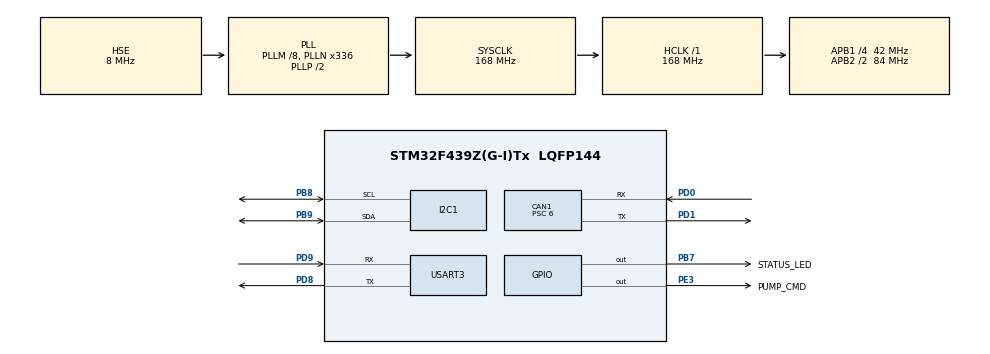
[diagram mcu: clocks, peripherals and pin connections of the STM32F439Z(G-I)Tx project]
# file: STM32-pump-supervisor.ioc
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CAN1.ABOM=ENABLE
CAN1.BS1=CAN_BS1_11TQ
CAN1.BS2=CAN_BS2_2TQ
CAN1.CalculateBaudRate=500000
CAN1.CalculateTimeBit=2000
CAN1.CalculateTimeQuantum=142.85714285714286
CAN1.Mode=CAN_MODE_LOOPBACK
CAN1.NART=ENABLE
CAN1.Prescaler=6
FREERTOS.Tasks01=defaultTask,8,128,StartDefaultTask,Default,NULL,Dynamic,NULL,NULL;task_sense,24,256,StartTaskSense,Default,NULL,Dynamic,NULL,NULL;task_control,24,256,StartTaskControl,Default,NULL,Dynamic,NULL,NULL;task_diag,16,384,StartTaskDiag,Default,NULL,Dynamic,NULL,NULL;task_supervisor,32,256,StartTaskSupervisor,Default,NULL,Dynamic,NULL,NULL
Mcu.Family=STM32F4
Mcu.Name=STM32F439Z(G-I)Tx
Mcu.Package=LQFP144
NVIC.PriorityGroup=NVIC_PRIORITYGROUP_4
NVIC.TIM6_DAC_IRQn=true\:15\:0\:false\:false\:true\:false\:false\:true\:true
NVIC.TimeBase=TIM6_DAC_IRQn
NVIC.TimeBaseIP=TIM6
PA13.Mode=Serial_Wire
PA13.Signal=SYS_JTMS-SWDIO
PA14.Mode=Serial_Wire
PA14.Signal=SYS_JTCK-SWCLK
PB7.GPIO_Label=STATUS_LED
PB7.Signal=GPIO_Output
PB8.Mode=I2C
PB8.Signal=I2C1_SCL
PB9.Mode=I2C
PB9.Signal=I2C1_SDA
PD0.Mode=CAN_Activate
PD0.Signal=CAN1_RX
PD1.Mode=CAN_Activate
PD1.Signal=CAN1_TX
PD8.Mode=Asynchronous
PD8.Signal=USART3_TX
PD9.Mode=Asynchronous
PD9.Signal=USART3_RX
PE3.GPIO_Label=PUMP_CMD
PE3.Signal=GPIO_Output
PH0/OSC_IN.Mode=HSE-External-Clock-Source
PH0/OSC_IN.Signal=RCC_OSC_IN
PH1/OSC_OUT.Mode=HSE-External-Clock-Source
PH1/OSC_OUT.Signal=RCC_OSC_OUT
ProjectManager.HeapSize=0x200
ProjectManager.StackSize=0x400
ProjectManager.TargetToolchain=STM32CubeIDE
RCC.48MHZClocksFreq_Value=84000000
RCC.AHBFreq_Value=168000000
RCC.APB1CLKDivider=RCC_HCLK_DIV4
RCC.APB1Freq_Value=42000000
RCC.APB1TimFreq_Value=84000000
RCC.APB2CLKDivider=RCC_HCLK_DIV2
RCC.APB2Freq_Value=84000000
RCC.APB2TimFreq_Value=168000000
RCC.CortexFreq_Value=168000000
RCC.HCLKFreq_Value=168000000
RCC.HSE_VALUE=8000000
RCC.HSICalibrationValue=8
RCC.HSI_VALUE=16000000
RCC.LSE_VALUE=32768
RCC.PLLM=8
RCC.PLLN=336
RCC.PLLSourceVirtual=RCC_PLLSOURCE_HSE
RCC.SYSCLKFreq_VALUE=168000000
RCC.SYSCLKSource=RCC_SYSCLKSOURCE_PLLCLK
RCC.VCOOutputFreq_Value=336000000
USART3.VirtualMode=VM_ASYNC
VP_FREERTOS_VS_CMSIS_V2.Mode=CMSIS_V2
VP_SYS_VS_tim6.Mode=TIM6
board=custom

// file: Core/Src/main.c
/* USER CODE BEGIN Header */
/**
  ******************************************************************************
  * @file           : main.c
  * @brief          : Main program body
  ******************************************************************************
  * @attention
  *
  * Copyright (c) 2026 STMicroelectronics.
  * All rights reserved.
  *
  * This software is licensed under terms that can be found in the LICENSE file
  * in the root directory of this software component.
  * If no LICENSE file comes with this software, it is provided AS-IS.
  *
  ******************************************************************************
  */
/* USER CODE END Header */
#include "main.h"
#include "cmsis_os.h"
#include "can.h"
#include "i2c.h"
#include "usart.h"
#include "gpio.h"
#include "fault_manager.h"

/* USER CODE BEGIN Includes */
#include <string.h>

/* USER CODE END Includes */

/* USER CODE BEGIN PV */
uint8_t tx_buffer[32];

/* USER CODE END PV */

void SystemClock_Config(void);
void MX_FREERTOS_Init(void);

int main(void)
{

  /* MCU Configuration--------------------------------------------------------*/

  /* Reset of all peripherals, Initializes the Flash interface and the Systick. */
  HAL_Init();

  /* Configure the system clock */
  SystemClock_Config();

  /* Initialize all configured peripherals */
  MX_GPIO_Init();
  MX_I2C1_Init();
  MX_CAN1_Init();
  MX_USART3_UART_Init();

  /* USER CODE BEGIN 2 */
  /* SETUP */
  fault_manager_init();

  strcpy((char*)tx_buffer, "SYSTEM INIT\r\n");
  HAL_UART_Transmit(&huart3, tx_buffer, strlen((char*)tx_buffer), HAL_MAX_DELAY);
  /* USER CODE END 2 */

  /* Init scheduler */
  osKernelInitialize();  /* Call init function for freertos objects (in cmsis_os2.c) */
  MX_FREERTOS_Init();

  /* Start scheduler */
  osKernelStart();

  /* We should never get here as control is now taken by the scheduler */

  /* Infinite loop */
  while (1)
  {

  }
}

void SystemClock_Config(void)
{
  RCC_OscInitTypeDef RCC_OscInitStruct = {0};
  RCC_ClkInitTypeDef RCC_ClkInitStruct = {0};

  /** Configure the main internal regulator output voltage
  */
  __HAL_RCC_PWR_CLK_ENABLE();
  __HAL_PWR_VOLTAGESCALING_CONFIG(PWR_REGULATOR_VOLTAGE_SCALE1);

  /** Initializes the RCC Oscillators according to the specified parameters
  * in the RCC_OscInitTypeDef structure.
  */
  RCC_OscInitStruct.OscillatorType = RCC_OSCILLATORTYPE_HSE;
  RCC_OscInitStruct.HSEState = RCC_HSE_BYPASS;
  RCC_OscInitStruct.PLL.PLLState = RCC_PLL_ON;
  RCC_OscInitStruct.PLL.PLLSource = RCC_PLLSOURCE_HSE;
  RCC_OscInitStruct.PLL.PLLM = 8;
  RCC_OscInitStruct.PLL.PLLN = 336;
  RCC_OscInitStruct.PLL.PLLP = RCC_PLLP_DIV2;
  RCC_OscInitStruct.PLL.PLLQ = 4;
  if (HAL_RCC_OscConfig(&RCC_OscInitStruct) != HAL_OK)
  {
    Error_Handler();
  }

  /** Initializes the CPU, AHB and APB buses clocks
  */
  RCC_ClkInitStruct.ClockType = RCC_CLOCKTYPE_HCLK|RCC_CLOCKTYPE_SYSCLK
                              |RCC_CLOCKTYPE_PCLK1|RCC_CLOCKTYPE_PCLK2;
  RCC_ClkInitStruct.SYSCLKSource = RCC_SYSCLKSOURCE_PLLCLK;
  RCC_ClkInitStruct.AHBCLKDivider = RCC_SYSCLK_DIV1;
  RCC_ClkInitStruct.APB1CLKDivider = RCC_HCLK_DIV4;
  RCC_ClkInitStruct.APB2CLKDivider = RCC_HCLK_DIV2;

  if (HAL_RCC_ClockConfig(&RCC_ClkInitStruct, FLASH_LATENCY_5) != HAL_OK)
  {
    Error_Handler();
  }
}

void HAL_TIM_PeriodElapsedCallback(TIM_HandleTypeDef *htim)
{
  if (htim->Instance == TIM6)
  {
    HAL_IncTick();
  }
}

void Error_Handler(void)
{
  __disable_irq();
  while (1)
  {
  }
}

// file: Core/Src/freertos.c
/* USER CODE BEGIN Header */
/**
  ******************************************************************************
  * File Name          : freertos.c
  * Description        : Code for freertos applications
  ******************************************************************************
  * @attention
  *
  * Copyright (c) 2026 STMicroelectronics.
  * All rights reserved.
  *
  * This software is licensed under terms that can be found in the LICENSE file
  * in the root directory of this software component.
  * If no LICENSE file comes with this software, it is provided AS-IS.
  *
  ******************************************************************************
  */
/* USER CODE END Header */

#include "FreeRTOS.h"
#include "task.h"
#include "main.h"
#include "cmsis_os.h"

/* USER CODE BEGIN Includes */
#include <string.h>
#include <stdio.h>
#include "usart.h"
#include "can.h"
#include "mcp9808_drv.h"
#include "bsp_can.h"
#include "pump_drv.h"
#include "operating_modes.h"
#include "thermal_supervision.h"
#include "control_logic.h"
#include "fault_manager.h"
#include "can_msg_codec.h"
#include "can_status_mapper.h"

/* USER CODE END Includes */

/* Definitions for defaultTask */
osThreadId_t defaultTaskHandle;
const osThreadAttr_t defaultTask_attributes = {
  .name = "defaultTask",
  .stack_size = 128 * 4,
  .priority = (osPriority_t) osPriorityLow,
};
/* Definitions for task_sense */
osThreadId_t task_senseHandle;
const osThreadAttr_t task_sense_attributes = {
  .name = "task_sense",
  .stack_size = 256 * 4,
  .priority = (osPriority_t) osPriorityNormal,
};
/* Definitions for task_control */
osThreadId_t task_controlHandle;
const osThreadAttr_t task_control_attributes = {
  .name = "task_control",
  .stack_size = 256 * 4,
  .priority = (osPriority_t) osPriorityNormal,
};
/* Definitions for task_diag */
osThreadId_t task_diagHandle;
const osThreadAttr_t task_diag_attributes = {
  .name = "task_diag",
  .stack_size = 384 * 4,
  .priority = (osPriority_t) osPriorityBelowNormal,
};
/* Definitions for task_supervisor */
osThreadId_t task_supervisorHandle;
const osThreadAttr_t task_supervisor_attributes = {
  .name = "task_supervisor",
  .stack_size = 256 * 4,
  .priority = (osPriority_t) osPriorityAboveNormal,
};

void StartDefaultTask(void *argument);
void StartTaskSense(void *argument);
void StartTaskControl(void *argument);
void StartTaskDiag(void *argument);
void StartTaskSupervisor(void *argument);

void MX_FREERTOS_Init(void); /* (MISRA C 2004 rule 8.1) */

void MX_FREERTOS_Init(void) {

  /* Create the thread(s) */
  /* creation of defaultTask */
  defaultTaskHandle = osThreadNew(StartDefaultTask, NULL, &defaultTask_attributes);

  /* creation of task_sense */
  task_senseHandle = osThreadNew(StartTaskSense, NULL, &task_sense_attributes);

  /* creation of task_control */
  task_controlHandle = osThreadNew(StartTaskControl, NULL, &task_control_attributes);

  /* creation of task_diag */
  task_diagHandle = osThreadNew(StartTaskDiag, NULL, &task_diag_attributes);

  /* creation of task_supervisor */
  task_supervisorHandle = osThreadNew(StartTaskSupervisor, NULL, &task_supervisor_attributes);

}

void StartDefaultTask(void *argument)
{
  for(;;)
  {
    osDelay(1);
  }
}

static const char *mcp9808_status_to_string(Mcp9808Status status)
{
    const char *status_str = "UNKNOWN";

    switch (status)
    {
        case MCP9808_STATUS_OK:
            status_str = "OK";
            break;

        case MCP9808_STATUS_ERR_INIT:
            status_str = "ERR_INIT";
            break;

        case MCP9808_STATUS_ERR_PARAM:
            status_str = "ERR_PARAM";
            break;

        case MCP9808_STATUS_ERR_I2C:
            status_str = "ERR_I2C";
            break;

        case MCP9808_STATUS_ERR_TIMEOUT:
            status_str = "ERR_TIMEOUT";
            break;

        case MCP9808_STATUS_ERR_INVALID_TEMP:
            status_str = "ERR_INVALID_TEMP";
            break;

        case MCP9808_STATUS_ERR_FAULT:
            status_str = "ERR_FAULT";
            break;

        default:
            status_str = "UNKNOWN";
            break;
    }

    return status_str;
}

void StartTaskSense(void *argument)
{
    /* USER CODE BEGIN StartTaskSense */
    int16_t temp_x10;
    char temp_msg[128];

    Mcp9808Status mcp9808_status;
    Mcp9808Status recover_status;
    Mcp9808Status state_status;
    Mcp9808State mcp9808_state;
    Mcp9808Ctx mcp9808_ctx;
    ThermalSupervisionState supervision_state = THERMAL_SUPERVISION_STATE_INVALID_MEASUREMENT;

    mcp9808_status = mcp9808_drv_init(&mcp9808_ctx, 0x18U);
    if (mcp9808_status != MCP9808_STATUS_OK)
    {
        (void)snprintf(temp_msg,
                       sizeof(temp_msg),
                       "MCP9808 init FAIL status=%s\r\n",
                       mcp9808_status_to_string(mcp9808_status));

        HAL_UART_Transmit(&huart3,
                          (uint8_t *)temp_msg,
                          strlen(temp_msg),
                          HAL_MAX_DELAY);

        for (;;)
        {
            thermal_supervision_set_invalid_measurement();
            mcp9808_status = mcp9808_drv_init(&mcp9808_ctx, 0x18U);
            if (mcp9808_status == MCP9808_STATUS_OK)
            {
                HAL_UART_Transmit(&huart3,
                                    (uint8_t *)"MCP9808 init recovery OK\r\n",
                                    strlen("MCP9808 init recovery OK\r\n"),
                                    HAL_MAX_DELAY);
                break;
             }
            osDelay(1000U);
        }
    }

    for (;;)
    {
        mcp9808_status = mcp9808_drv_get_temperature_x10(&mcp9808_ctx, &temp_x10);

        if (mcp9808_status == MCP9808_STATUS_OK)
        {
            supervision_state = thermal_supervision_update_valid_temperature(temp_x10);

            /* Clear fault if it's active */
            if (fault_manager_is_fault_active(FAULT_ID_F001_SENSOR_COMMUNICATION))
            {
                fault_manager_clear_fault(FAULT_ID_F001_SENSOR_COMMUNICATION);

                HAL_UART_Transmit(
                    &huart3,
                    (uint8_t *)"FAULT F001 cleared\r\n",
                    strlen("FAULT F001 cleared\r\n"),
                    HAL_MAX_DELAY);
            }

        }
        else
        {
            thermal_supervision_set_invalid_measurement();

            (void)snprintf(temp_msg,
                           sizeof(temp_msg),
                           "TEMP read FAIL status=%s\r\n",
                           mcp9808_status_to_string(mcp9808_status));

            HAL_UART_Transmit(&huart3,
                              (uint8_t *)temp_msg,
                              strlen(temp_msg),
                              HAL_MAX_DELAY);
        }

        state_status = mcp9808_drv_get_state(&mcp9808_ctx, &mcp9808_state);
        if (state_status == MCP9808_STATUS_OK && mcp9808_state == MCP9808_STATE_FAULT)
        {
            /* 3 consecutive sensor acquisition failures */
            if (!fault_manager_is_fault_active(FAULT_ID_F001_SENSOR_COMMUNICATION))
            {
                fault_manager_raise_fault(FAULT_ID_F001_SENSOR_COMMUNICATION);

                HAL_UART_Transmit(
                    &huart3,
                    (uint8_t *)"FAULT F001 raised\r\n",
                    strlen("FAULT F001 raised\r\n"),
                    HAL_MAX_DELAY);
            }

            HAL_UART_Transmit(
                &huart3,
                (uint8_t *)"MCP9808 FAULT -> recover request\r\n",
                strlen("MCP9808 FAULT -> recover request\r\n"),
                HAL_MAX_DELAY);

            recover_status = mcp9808_drv_recover(&mcp9808_ctx);

            (void)snprintf(temp_msg,
                            sizeof(temp_msg),
                            "MCP9808 recover status=%s\r\n",
                            mcp9808_status_to_string(recover_status));

            HAL_UART_Transmit(&huart3,
                              (uint8_t *)temp_msg,
                              strlen(temp_msg),
                              HAL_MAX_DELAY);
        }

        osDelay(1000U);
    }
}

void StartTaskControl(void *argument)
{
  /* USER CODE BEGIN StartTaskControl */
  int16_t last_valid_temp_x10;
  char ctrl_msg[128];

  ThermalSupervisionState supervision_state;
  PumpCtx pump_ctx;
  PumpStatus pump_status;
  PumpControlResult control_result =
  {
      .command = PUMP_COMMAND_OFF,
      .region = PUMP_CONTROL_REGION_INVALID_MEASUREMENT
  };
  PumpCommand previous_pump_command = PUMP_COMMAND_OFF;

  pump_status = pump_drv_init(&pump_ctx, PUMP_CMD_GPIO_Port, PUMP_CMD_Pin);

  if (pump_status != PUMP_STATUS_OK)
  {
    HAL_UART_Transmit(&huart3,
                      (uint8_t *)"Pump init FAIL\r\n",
                      strlen("Pump init FAIL\r\n"),
                      HAL_MAX_DELAY);

    for (;;)
    {
      osDelay(1000U);
    }
  }

  pump_status = pump_drv_set_off(&pump_ctx);
  if (pump_status != PUMP_STATUS_OK)
  {
    HAL_UART_Transmit(&huart3,
                      (uint8_t *)"Pump force OFF init FAIL\r\n",
                      strlen("Pump force OFF init FAIL\r\n"),
                      HAL_MAX_DELAY);
  }

  for (;;)
  {
    supervision_state = thermal_supervision_get_last_valid_temperature(&last_valid_temp_x10);

    /* Only control_logic API is authorized to modify the pump command */
    control_result  = pump_control_logic_update(supervision_state, last_valid_temp_x10);

    if (control_result.command == PUMP_COMMAND_ON)
    {
        pump_status = pump_drv_set_on(&pump_ctx);
    }
    else
    {
        pump_status = pump_drv_set_off(&pump_ctx);
    }

    if (pump_status != PUMP_STATUS_OK)
    {
      (void)snprintf(ctrl_msg,
                     sizeof(ctrl_msg),
                     "Pump command apply FAIL status=%d\r\n",
                     (int)pump_status);

      HAL_UART_Transmit(&huart3,
                        (uint8_t *)ctrl_msg,
                        strlen(ctrl_msg),
                        HAL_MAX_DELAY);
    }
    else if (control_result.command != previous_pump_command)
    {
      (void)snprintf(ctrl_msg,
                     sizeof(ctrl_msg),
                     "Pump command -> %s\r\n",
                     (control_result.command == PUMP_COMMAND_ON) ? "ON" : "OFF");

      HAL_UART_Transmit(&huart3,
                        (uint8_t *)ctrl_msg,
                        strlen(ctrl_msg),
                        HAL_MAX_DELAY);

      previous_pump_command = control_result.command;
    }

    osDelay(1000U);
  }
  /* USER CODE END StartTaskControl */
}

/* USER CODE BEGIN Header_StartTaskDiag */
static HAL_StatusTypeDef task_diag_configure_can_filter(void)
{
    CAN_FilterTypeDef filter = {0};

    filter.FilterBank = 0U;
    filter.FilterMode = CAN_FILTERMODE_IDMASK;
    filter.FilterScale = CAN_FILTERSCALE_32BIT;
    filter.FilterIdHigh = 0U;
    filter.FilterIdLow = 0U;
    filter.FilterMaskIdHigh = 0U;
    filter.FilterMaskIdLow = 0U;
    filter.FilterFIFOAssignment = CAN_FILTER_FIFO0;
    filter.FilterActivation = ENABLE;
    filter.SlaveStartFilterBank = 14U;

    return HAL_CAN_ConfigFilter(&hcan1, &filter);
}

void StartTaskDiag(void *argument)
{
    /* USER CODE BEGIN StartTaskDiag */

    CanMsgCodecStatus codec_status;
    CanStatusMapperStatus mapper_status;
    HAL_StatusTypeDef can_status;
    HAL_StatusTypeDef hal_status;

    PumpControlResult control_result;
    CanThermalState can_thermal_state;

    int16_t temperature_x10 = 0;

    uint8_t thermal_payload[CAN_MSG_THERMAL_STATUS_DLC] = {0U};
    uint8_t rx_payload[CAN_MSG_THERMAL_STATUS_DLC] = {0U};

    char diag_msg[128];

    CAN_TxHeaderTypeDef tx_header = {0};
    CAN_RxHeaderTypeDef rx_header = {0};

    uint32_t tx_mailbox = 0U;

    tx_header.StdId = CAN_MSG_THERMAL_STATUS_ID;
    tx_header.ExtId = 0U;
    tx_header.IDE = CAN_ID_STD;
    tx_header.RTR = CAN_RTR_DATA;
    tx_header.DLC = CAN_MSG_THERMAL_STATUS_DLC;
    tx_header.TransmitGlobalTime = DISABLE;

    hal_status = task_diag_configure_can_filter();

    if (hal_status != HAL_OK)
    {
        (void)snprintf(
            diag_msg,
            sizeof(diag_msg),
            "CAN filter config FAIL status=%d\r\n",
            (int)hal_status);

        HAL_UART_Transmit(
            &huart3,
            (uint8_t *)diag_msg,
            strlen(diag_msg),
            HAL_MAX_DELAY);

        for (;;)
        {
            osDelay(1000U);
        }
    }

    hal_status = HAL_CAN_Start(&hcan1);

    if (hal_status != HAL_OK)
    {
        (void)snprintf(
            diag_msg,
            sizeof(diag_msg),
            "CAN start FAIL status=%d\r\n",
            (int)hal_status);

        HAL_UART_Transmit(
            &huart3,
            (uint8_t *)diag_msg,
            strlen(diag_msg),
            HAL_MAX_DELAY);

        for (;;)
        {
            osDelay(1000U);
        }
    }

    for (;;)
    {
        (void)thermal_supervision_get_last_valid_temperature(
            &temperature_x10);

        control_result =
            pump_control_logic_get_current_result();

        mapper_status =
            can_status_mapper_map_thermal_state(
                control_result.region,
                &can_thermal_state);

        if (mapper_status == CAN_STATUS_MAPPER_STATUS_OK)
        {
            codec_status =
                can_msg_codec_build_thermal_status(
                    thermal_payload,
                    can_thermal_state,
                    temperature_x10,
                    control_result.command);
        }
        else
        {
            codec_status = CAN_MSG_CODEC_STATUS_ERR_VALUE;
        }

        if (codec_status == CAN_MSG_CODEC_STATUS_OK)
        {
            can_status =
                bsp_can_send(
                    &hcan1,
                    &tx_header,
                    thermal_payload,
                    &tx_mailbox);

            if (can_status == HAL_OK)
            {
                osDelay(10U);

                if (HAL_CAN_GetRxFifoFillLevel(
                        &hcan1,
                        CAN_RX_FIFO0) > 0U)
                {
                    if (HAL_CAN_GetRxMessage(
                            &hcan1,
                            CAN_RX_FIFO0,
                            &rx_header,
                            rx_payload) != HAL_OK)
                    {
                        HAL_UART_Transmit(
                            &huart3,
                            (uint8_t *)"CAN RX read FAIL\r\n",
                            strlen("CAN RX read FAIL\r\n"),
                            HAL_MAX_DELAY);
                    }
                }
            }
            else
            {
                (void)snprintf(
                    diag_msg,
                    sizeof(diag_msg),
                    "CAN thermal status TX FAIL status=%d\r\n",
                    (int)can_status);

                HAL_UART_Transmit(
                    &huart3,
                    (uint8_t *)diag_msg,
                    strlen(diag_msg),
                    HAL_MAX_DELAY);
            }
        }
        else
        {
            (void)snprintf(
                diag_msg,
                sizeof(diag_msg),
                "CAN thermal status build FAIL status=%d\r\n",
                (int)codec_status);

            HAL_UART_Transmit(
                &huart3,
                (uint8_t *)diag_msg,
                strlen(diag_msg),
                HAL_MAX_DELAY);
        }

        osDelay(500U);
    }

    /* USER CODE END StartTaskDiag */
}

void StartTaskSupervisor(void *argument)
{

  /* Infinite loop */
  for(;;)
  {

    osDelay(1000);
  }
  /* USER CODE END StartTaskSupervisor */
}
